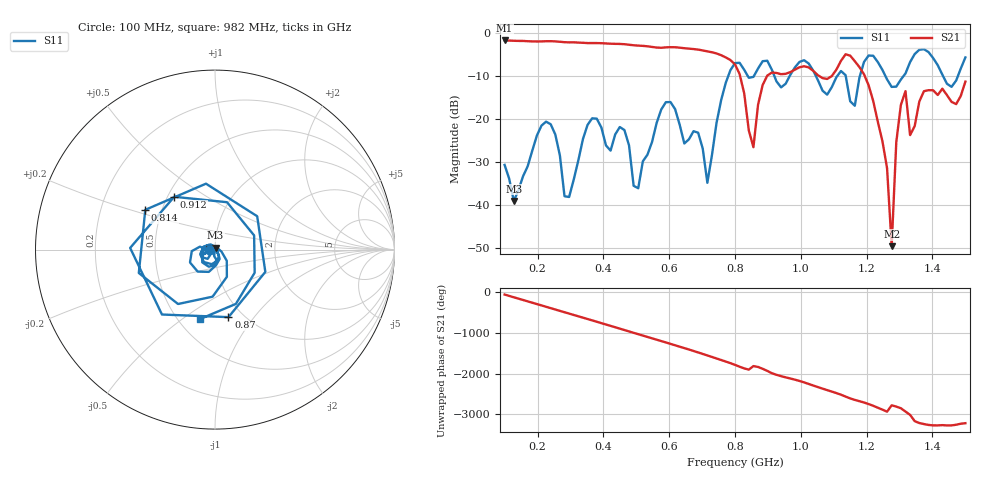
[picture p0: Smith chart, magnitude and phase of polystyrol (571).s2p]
! NanoVNA-App
! Date: 2025-09-25 15:34:20
! Start: 100MHz Stop: 1,5GHz Points: 101
! S-Parameter data: F S11 S21 S12 S22
# Hz S RI R 50
!  Frequency  S11_Real  S11_Imag  S21_Real  S21_Imag  S12_Real  S12_Imag  S22_Real  S22_Imag
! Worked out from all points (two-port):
!   101 points, 100 MHz to 1.5 GHz, reference 50 ohm
!   highest |S21| = -1.80 dB at 100 MHz (marker M1); lowest = -49.6 dB at 1.276 GHz (marker M2)
!   |S21| within 3 dB of the highest: start of sweep to 743.1 MHz
!   lowest |S11| = -39.1 dB at 128 MHz (marker M3), VSWR 1.02, Z = 50.3 + j1.06 ohm
!   |S11| at or under -10 dB: start of sweep to 779.8 MHz; 1.045 GHz to 1.111 GHz (65.9 MHz wide, 6.11 % of centre); 1.257 GHz to 1.313 GHz (56.05 MHz wide, 4.36 % of centre) (the widest 3 of 7)
!   S12 and S22 are empty: the file has one direction only
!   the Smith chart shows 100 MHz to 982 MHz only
!   S11 on the Smith chart (normalised r, x): 100 MHz: 0.94, -0.01; 814 MHz: 0.40, +0.22; 870 MHz: 0.86, -0.75; 912 MHz: 0.54, +0.37; 982 MHz: 0.64, -0.58
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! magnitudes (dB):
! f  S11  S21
! 100 MHz  -30.7  -1.8
! 128 MHz  -39.1  -1.9
! 212 MHz  -21.6  -2.0
! 282 MHz  -38.0  -2.2
! 338 MHz  -24.7  -2.3
! 464 MHz  -22.6  -2.7
! 506 MHz  -36.1  -3.0
! 576 MHz  -17.8  -3.5
! 716 MHz  -34.9  -4.3
! 800 MHz  -7.1  -7.4
! 814 MHz  -7.0  -9.6
! 856 MHz  -10.3  -26.6
! 870 MHz  -8.3  -16.7
! 912 MHz  -8.6  -9.2
! 982 MHz  -8.1  -8.6
! 1.038 GHz  -8.8  -8.9
! 1.192 GHz  -6.8  -9.7
! 1.262 GHz  -10.8  -31.4
! 1.276 GHz  -12.6  -49.6
! 1.29 GHz  -12.5  -25.4
! 1.318 GHz  -9.5  -13.6
! 1.5 GHz  -5.7  -11.4
